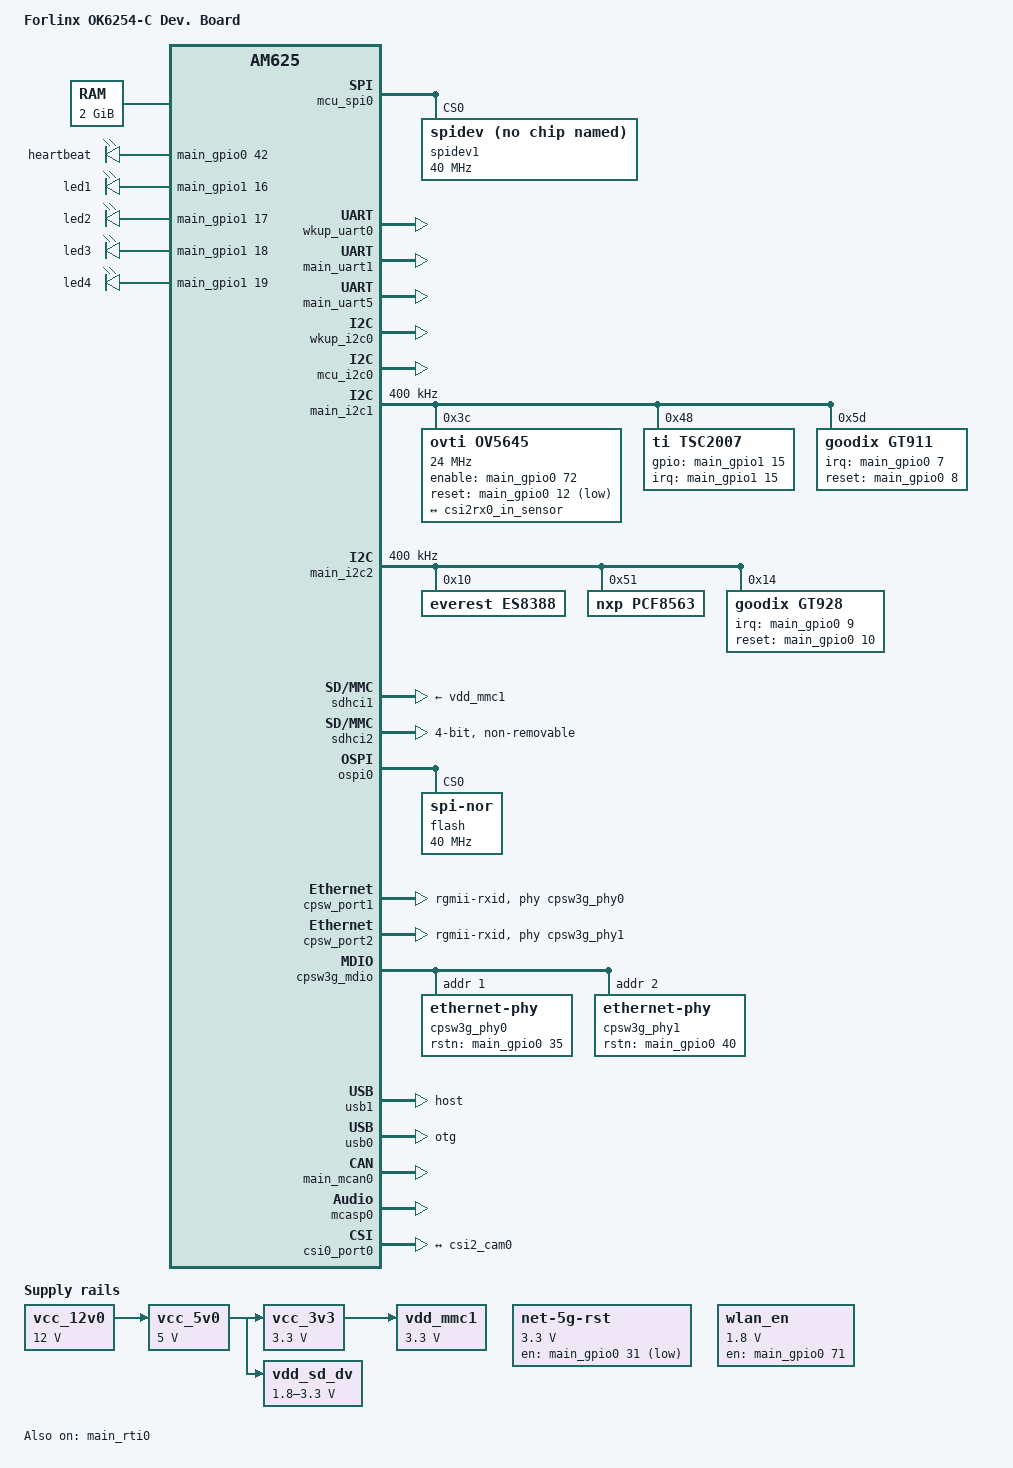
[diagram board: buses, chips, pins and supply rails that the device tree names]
// SPDX-License-Identifier: GPL-2.0
/*
 * Device Tree Source for Forlinx OK6254-C Dev. Board
 *
 * Copyright (C) 2022 UWINGS Technologies
 */

/dts-v1/;

#include <dt-bindings/leds/common.h>
#include <dt-bindings/gpio/gpio.h>
#include "k3-am625.dtsi"

/ {
	compatible =  "forlinx,am625x", "ti,am625-sk", "ti,am625";
	model = "Forlinx OK6254-C Dev. Board";

	aliases {
		serial2 = &main_uart0;
		mmc0 = &sdhci0;
		mmc1 = &sdhci1;
		mmc2 = &sdhci2;
		spi0 = &ospi0;
		usb0 = &usb0;
		usb1 = &usb1;
		ethernet0 = &cpsw_port1;
		ethernet1 = &cpsw_port2;
	};

	chosen {
		stdout-path = "serial2:115200n8";
		bootargs = "console=ttyS2,115200n8 earlycon=ns16550a,mmio32,0x02800000";
	};

	opp-table {
		/* Add 1.4GHz OPP for am625-sk board. Requires VDD_CORE to be at 0.85V */
		opp-1400000000 {
			opp-hz = /bits/ 64 <1400000000>;
			opp-supported-hw = <0x01 0x0004>;
			clock-latency-ns = <6000000>;
		};
	};

	memory@80000000 {
		device_type = "memory";
		/* 2G RAM */
		reg = <0x00000000 0x80000000 0x00000000 0x80000000>;

	};

	forlinx_control {
		//"lvds" : duplicate mode, two lvds interfaces output the same image
		//"lvds-dual" : lvds dual-channel, two lvds interfaces make one image
		//"lvds" "lvds-dual" only available on video-vp0

		//"rgb" : rgb interface output 1024x600 image
		//"rgb800x480" : rgb interface output 800x480 image
		//"rgb" "rgb800x480" only available on video-vp1

		//"disabled" :  lvds or rgb interface disable
		//others keys are considered as interface disabled

		//other resolutions modifiy  OK6254-C-lvds.dts or OK6254-C-rgb.dts panel timmings, and use "lvds" or "rgb" keys.

		status = "disabled";
		video-vp0 = "lvds";   //lvds lvds-dual  disabled
		video-vp1 = "rgb";    //rgb  rgb800x480 disabled

	};

	reserved-memory {
		#address-cells = <2>;
		#size-cells = <2>;
		ranges;

		rtos_ipc_memory_region: ipc-memories@9c800000 {
			compatible = "shared-dma-pool";
			reg = <0x00 0x9c800000 0x00 0x00300000>;
			no-map;
		};

		mcu_m4fss_dma_memory_region: m4f-dma-memory@9cb00000 {
			compatible = "shared-dma-pool";
			reg = <0x00 0x9cb00000 0x00 0x100000>;
			no-map;
		};

		mcu_m4fss_memory_region: m4f-memory@9cc00000 {
			compatible = "shared-dma-pool";
			reg = <0x00 0x9cc00000 0x00 0xd00000>;
			no-map;
		};

		wkup_r5fss0_core0_dma_memory_region: r5f-dma-memory@9d900000 {
			compatible = "shared-dma-pool";
			reg = <0x00 0x9d900000 0x00 0x00100000>;
			no-map;
		};

		wkup_r5fss0_core0_memory_region: r5f-memory@9da00000 {
			compatible = "shared-dma-pool";
			reg = <0x00 0x9da00000 0x00 0x00d00000>;
			no-map;
		};

		lpm_ctx_ddr: lpm-memory@9e700000 {
			reg = <0x00 0x9e700000 0x00 0x80000>;
			alignment = <0x1000>;
		};

		secure_tfa_ddr: tfa@9e780000 {
			reg = <0x00 0x9e780000 0x00 0x80000>;
			alignment = <0x1000>;
			no-map;
		};

		secure_ddr: optee@9e800000 {
			reg = <0x00 0x9e800000 0x00 0x01800000>; /* for OP-TEE */
			alignment = <0x1000>;
			no-map;
		};
	};

	vcc_12v0: fixed-regulator-vcc12v0 {
		compatible = "regulator-fixed";
		regulator-name = "vcc_12v0";
		regulator-min-microvolt = <12000000>;
		regulator-max-microvolt = <12000000>;
		regulator-always-on;
		regulator-boot-on;
	};

	vcc_5v0: fixed-regulator-vcc5v0 {
		compatible = "regulator-fixed";
		regulator-name = "vcc_5v0";
		regulator-min-microvolt = <5000000>;
		regulator-max-microvolt = <5000000>;
		vin-supply = <&vcc_12v0>;
		regulator-always-on;
		regulator-boot-on;
	};


	vcc_3v3: fixed-regulator-vcc3v3 {
		compatible = "regulator-fixed";
		regulator-name = "vcc_3v3";
		regulator-min-microvolt = <3300000>;
		regulator-max-microvolt = <3300000>;
		vin-supply = <&vcc_5v0>;
		regulator-always-on;
		regulator-boot-on;
	};

	vdd_mmc1: fixed-regulator-sd {
		compatible = "regulator-fixed";
		regulator-name = "vdd_mmc1";
		regulator-min-microvolt = <3300000>;
		regulator-max-microvolt = <3300000>;
		regulator-boot-on;
		enable-active-high;
		vin-supply = <&vcc_3v3>;
	};

	net-5g-rst {
		compatible = "regulator-fixed";
		regulator-name = "net-5g-rst";
		regulator-min-microvolt = <3300000>;
		regulator-max-microvolt = <3300000>;
		gpio = <&main_gpio0 31 GPIO_ACTIVE_LOW>;
		enable-active-low;
		regulator-boot-on;
		regulator-always-on;
		pinctrl-names = "default";
		pinctrl-0 = <&net_5g_rst_gpio_default>;
		status = "okay";
	};

	wlan_en: regulator-6 {
		compatible = "regulator-fixed";
		regulator-name = "wlan_en";
		regulator-min-microvolt = <1800000>;
		regulator-max-microvolt = <1800000>;
		enable-active-high;
		regulator-always-on;
		gpios = <&main_gpio0 71 GPIO_ACTIVE_HIGH>;
		pinctrl-names = "default";
		pinctrl-0 = <&wifi_enable_h>;
	};

	vdd_sd_dv: gpio-regulator-sd-dv {
		compatible = "regulator-gpio";
		regulator-name = "RT9186";
		pinctrl-names = "default";
		pinctrl-0 = <&vdd_sd_dv_pins_default>;
		regulator-min-microvolt = <1800000>;
		regulator-max-microvolt = <3300000>;
		regulator-boot-on;
		vin-supply = <&vcc_5v0>;
		gpios = <&main_gpio0 38 GPIO_ACTIVE_HIGH>;
		states = <1800000 0x1>,
			 <3300000 0x0>;
	};

	leds {
		compatible = "gpio-leds";
		pinctrl-names = "default";
		pinctrl-0 = <&usr_led_pins_default>;

		led-0 {
			label = "heartbeat";
			gpios = <&main_gpio0 42 GPIO_ACTIVE_HIGH>;
			linux,default-trigger = "heartbeat";
			function = LED_FUNCTION_HEARTBEAT;
			default-state = "off";
		};

		led-1 {
			label = "led1";
			gpios = <&main_gpio1 16 GPIO_ACTIVE_HIGH>;
			linux,default-trigger = "timer";
			led-pattern = <200 800>;
			default-state = "on";
		};

		led-2 {
			label = "led2";
			gpios = <&main_gpio1 17 GPIO_ACTIVE_HIGH>;
			linux,default-trigger = "timer";
			led-pattern = <300 700>;
			default-state = "on";
		};

		led-3 {
			label = "led3";
			gpios = <&main_gpio1 18 GPIO_ACTIVE_HIGH>;
			linux,default-trigger = "timer";
			led-pattern = <400 600>;
			default-state = "on";
		};

		led-4 {
			label = "led4";
			gpios = <&main_gpio1 19 GPIO_ACTIVE_HIGH>;
			linux,default-trigger = "timer";
			led-pattern = <500 500>;
			default-state = "on";
		};

	};

	keys {
	};

	sound {
		status = "okay";
		compatible = "simple-audio-card";
		simple-audio-card,name = "OK6254";
		simple-audio-card,widgets =
			"Headphone", "Headphone Jack";
		simple-audio-card,routing =
			"Headphone Jack",	"LOUT1",
			"Headphone Jack",	"ROUT1";
		simple-audio-card,format = "i2s";

		simple-audio-card,cpu {
			system-clock-frequency = <11289600>;
			sound-dai = <&mcasp0>;
		};

		sound_master:simple-audio-card,codec {
			sound-dai = <&es8388>;
		};
	};

	clk_ov5645_fixed: clk_ov5645_fixed {
		compatible = "fixed-clock";
		#clock-cells = <0>;
		clock-frequency = <24000000>;
	};

	clk_es8388_fixed: clk_es8388_fixed {
		compatible = "fixed-clock";
		#clock-cells = <0>;
		clock-frequency = <11289600>;
	};

};

&main_pmx0 {
	gt911_pins_default:gt911-pins-default {
		pinctrl-single,pins = <
			AM62X_IOPAD(0x01c, PIN_INPUT, 7) /* J23 OSPI0_D4.GPIO0_7*/
			AM62X_IOPAD(0x020, PIN_OUTPUT, 7) /* J25 OSPI0_D5.GPIO0_8*/
		>;

	};

	gt928_pins_default:gt928-pins-default {
		pinctrl-single,pins = <
			AM62X_IOPAD(0x024, PIN_INPUT, 7) /* H25 OSPI0_D6.GPIO0_9*/
			AM62X_IOPAD(0x028, PIN_OUTPUT, 7) /* J22 OSPI0_D7.GPIO0_10*/
		>;
	};

	tsc_2007_pins_default:tsc2007-pins-default {
		pinctrl-single,pins = <
			AM62X_IOPAD(0x1b4, PIN_INPUT, 7) /* A13 SPI0_CS0.GPIO1_15*/
		>;
	};
	main_uart0_pins_default: main-uart0-pins-default {
		pinctrl-single,pins = <
			AM62X_IOPAD(0x1c8, PIN_INPUT, 0) /* (D14) UART0_RXD */
			AM62X_IOPAD(0x1cc, PIN_OUTPUT, 0) /* (E14) UART0_TXD */
		>;
	};

	main_uart1_pins_default: main-uart1-pins-default {
		pinctrl-single,pins = <
			AM62X_IOPAD(0x1ac, PIN_INPUT, 2) /* (E19) MCASP0_AFSR.UART1_RXD */
			AM62X_IOPAD(0x1b0, PIN_OUTPUT, 2) /* (A20) MCASP0_ACLKR.UART1_TXD */
		>;
	};

	main_uart5_pins_default: main-uart5-pins-default {
		pinctrl-single,pins = <
			AM62X_IOPAD(0x08, PIN_INPUT, 5) /* (J24) OSPI0_DQS.UART5_CTSn */
			AM62X_IOPAD(0x04, PIN_OUTPUT, 5) /* (G25) OSPI0_LBCLKO.UART5_RTSn */
			AM62X_IOPAD(0x34, PIN_INPUT, 5) /* (H21) OSPI0_CSn2.UART5_RXD */
			AM62X_IOPAD(0x38, PIN_OUTPUT, 5) /* (E24) OSPI0_CSn3.UART5_TXD */
		>;
	};

	main_i2c0_pins_default: main-i2c0-pins-default {
		pinctrl-single,pins = <
			AM62X_IOPAD(0x1e0, PIN_INPUT_PULLUP, 0) /* (B16) I2C0_SCL */
			AM62X_IOPAD(0x1e4, PIN_INPUT_PULLUP, 0) /* (A16) I2C0_SDA */
		>;
	};

	main_i2c1_pins_default: main-i2c1-pins-default {
		pinctrl-single,pins = <
			AM62X_IOPAD(0x1e8, PIN_INPUT_PULLUP, 0) /* (B17) I2C1_SCL */
			AM62X_IOPAD(0x1ec, PIN_INPUT_PULLUP, 0) /* (A17) I2C1_SDA */
		>;
	};

	main_i2c2_pins_default: main-i2c2-pins-default {
		pinctrl-single,pins = <
			AM62X_IOPAD(0x0b0, PIN_INPUT_PULLUP, 1) /* (K22) GPMC0_CSn2.I2C2_SCL */
			AM62X_IOPAD(0x0b4, PIN_INPUT_PULLUP, 1) /* (K24) GPMC0_CSn3.I2C2_SDA */
		>;
	};

	main_mmc0_pins_default: main-mmc0-pins-default {
		pinctrl-single,pins = <
			AM62X_IOPAD(0x220, PIN_INPUT_PULLUP, 0) /* (Y3) MMC0_CMD */
			AM62X_IOPAD(0x218, PIN_INPUT_PULLDOWN, 0) /* (AB1) MMC0_CLK */
			AM62X_IOPAD(0x214, PIN_INPUT_PULLUP, 0) /* (AA2) MMC0_DAT0 */
			AM62X_IOPAD(0x210, PIN_INPUT_PULLUP, 0) /* (AA1) MMC0_DAT1 */
			AM62X_IOPAD(0x20c, PIN_INPUT_PULLUP, 0) /* (AA3) MMC0_DAT2 */
			AM62X_IOPAD(0x208, PIN_INPUT_PULLUP, 0) /* (Y4) MMC0_DAT3 */
			AM62X_IOPAD(0x204, PIN_INPUT_PULLUP, 0) /* (AB2) MMC0_DAT4 */
			AM62X_IOPAD(0x200, PIN_INPUT_PULLUP, 0) /* (AC1) MMC0_DAT5 */
			AM62X_IOPAD(0x1fc, PIN_INPUT_PULLUP, 0) /* (AD2) MMC0_DAT6 */
			AM62X_IOPAD(0x1f8, PIN_INPUT_PULLUP, 0) /* (AC2) MMC0_DAT7 */
		>;
	};

	main_mmc1_pins_default: main-mmc1-pins-default {
		pinctrl-single,pins = <
			AM62X_IOPAD(0x23c, PIN_INPUT_PULLUP, 0) /* (A21) MMC1_CMD */
			AM62X_IOPAD(0x234, PIN_INPUT_PULLDOWN, 0) /* (B22) MMC1_CLK */
			AM62X_IOPAD(0x230, PIN_INPUT_PULLUP, 0) /* (A22) MMC1_DAT0 */
			AM62X_IOPAD(0x22c, PIN_INPUT_PULLUP, 0) /* (B21) MMC1_DAT1 */
			AM62X_IOPAD(0x228, PIN_INPUT_PULLUP, 0) /* (C21) MMC1_DAT2 */
			AM62X_IOPAD(0x224, PIN_INPUT_PULLUP, 0) /* (D22) MMC1_DAT3 */
			AM62X_IOPAD(0x240, PIN_INPUT_PULLUP, 0) /* (D17) MMC1_SDCD */
		>;
	};

	main_mmc2_pins_default: main-mmc2-pins-default {
		pinctrl-single,pins = <
			AM62X_IOPAD(0x120, PIN_INPUT_PULLUP, 0) /* (C24) MMC2_CMD */
			AM62X_IOPAD(0x118, PIN_INPUT_PULLDOWN, 0) /* (D25) MMC2_CLK */
			AM62X_IOPAD(0x114, PIN_INPUT_PULLUP, 0) /* (B24) MMC2_DAT0 */
			AM62X_IOPAD(0x110, PIN_INPUT_PULLUP, 0) /* (C25) MMC2_DAT1 */
			AM62X_IOPAD(0x10c, PIN_INPUT_PULLUP, 0) /* (E23) MMC2_DAT2 */
			AM62X_IOPAD(0x108, PIN_INPUT_PULLUP, 0) /* (D24) MMC2_DAT3 */
			AM62X_IOPAD(0x11c, PIN_INPUT, 0) /* (#N/A) MMC2_CLKB */
		>;
	};


	usr_led_pins_default: usr-led-pins-default {
		pinctrl-single,pins = <
			AM62X_IOPAD(0x0ac, PIN_OUTPUT, 7) /* (L21) GPMC0_CSn1.GPIO0_42 */
			AM62X_IOPAD(0x1b8, PIN_OUTPUT, 7) /* (C13) SPI0_CS1.GPIO1_16 */
			AM62X_IOPAD(0x1bc, PIN_OUTPUT, 7) /* (A14) SPI0_CLK.GPIO1_17*/
			AM62X_IOPAD(0x1c0, PIN_OUTPUT, 7) /* (B13) SPI0_D0.GPIO1_18 */
			AM62X_IOPAD(0x1c4, PIN_OUTPUT, 7) /* (B14) SPI0_D1.GPIO1_19 */
		>;
	};

	main_usb1_pins_default: main-usb1-pins-default {
		pinctrl-single,pins = <
			AM62X_IOPAD(0x258, PIN_OUTPUT, 0) /* (F18) USB1_DRVVBUS */
		>;
	};

	main_usb0_gpio_pins_default: main-usb0-gpio-pins-default {
		pinctrl-single,pins = <
			AM62X_IOPAD(0x094, PIN_INPUT, 7) /* (N20) GPMC0_BE1n.GPIO0_36 */
			AM62X_IOPAD(0x254, PIN_OUTPUT, 0) /* (C20) USB0_DRVVBUS */
		>;
	};

	main_mdio1_pins_default: main_mdio1-pins-default {
		pinctrl-single,pins = <
			AM62X_IOPAD(0x160, PIN_OUTPUT, 0) /* (AD24) MDIO0_MDC */
			AM62X_IOPAD(0x15c, PIN_INPUT, 0) /* (AB22) MDIO0_MDIO */
		>;
	};

	main_rgmii1_pins_default: main-rgmii1-pins-default {
		pinctrl-single,pins = <
			AM62X_IOPAD(0x14c, PIN_INPUT, 0) /* (AB17) RGMII1_RD0 */
			AM62X_IOPAD(0x150, PIN_INPUT, 0) /* (AC17) RGMII1_RD1 */
			AM62X_IOPAD(0x154, PIN_INPUT, 0) /* (AB16) RGMII1_RD2 */
			AM62X_IOPAD(0x158, PIN_INPUT, 0) /* (AA15) RGMII1_RD3 */
			AM62X_IOPAD(0x148, PIN_INPUT, 0) /* (AD17) RGMII1_RXC */
			AM62X_IOPAD(0x144, PIN_INPUT, 0) /* (AE17) RGMII1_RX_CTL */
			AM62X_IOPAD(0x134, PIN_OUTPUT, 0) /* (AE20) RGMII1_TD0 */
			AM62X_IOPAD(0x138, PIN_OUTPUT, 0) /* (AD20) RGMII1_TD1 */
			AM62X_IOPAD(0x13c, PIN_OUTPUT, 0) /* (AE18) RGMII1_TD2 */
			AM62X_IOPAD(0x140, PIN_OUTPUT, 0) /* (AD18) RGMII1_TD3 */
			AM62X_IOPAD(0x130, PIN_OUTPUT, 0) /* (AE19) RGMII1_TXC */
			AM62X_IOPAD(0x12c, PIN_OUTPUT, 0) /* (AD19) RGMII1_TX_CTL */
		>;
	};

	main_rgmii2_pins_default: main-rgmii2-pins-default {
		pinctrl-single,pins = <
			AM62X_IOPAD(0x184, PIN_INPUT, 0) /* (AE23) RGMII2_RD0 */
			AM62X_IOPAD(0x188, PIN_INPUT, 0) /* (AB20) RGMII2_RD1 */
			AM62X_IOPAD(0x18c, PIN_INPUT, 0) /* (AC21) RGMII2_RD2 */
			AM62X_IOPAD(0x190, PIN_INPUT, 0) /* (AE22) RGMII2_RD3 */
			AM62X_IOPAD(0x180, PIN_INPUT, 0) /* (AD23) RGMII2_RXC */
			AM62X_IOPAD(0x17c, PIN_INPUT, 0) /* (AD22) RGMII2_RX_CTL */
			AM62X_IOPAD(0x16c, PIN_OUTPUT, 0) /* (Y18) RGMII2_TD0 */
			AM62X_IOPAD(0x170, PIN_OUTPUT, 0) /* (AA18) RGMII2_TD1 */
			AM62X_IOPAD(0x174, PIN_OUTPUT, 0) /* (AD21) RGMII2_TD2 */
			AM62X_IOPAD(0x178, PIN_OUTPUT, 0) /* (AC20) RGMII2_TD3 */
			AM62X_IOPAD(0x168, PIN_OUTPUT, 0) /* (AE21) RGMII2_TXC */
			AM62X_IOPAD(0x164, PIN_OUTPUT, 0) /* (AA19) RGMII2_TX_CTL */
		>;
	};

	phy_reset_pins_default: phy-reset-pins-default {
		pinctrl-single,pins = <
			AM62X_IOPAD(0x090, PIN_OUTPUT, 7) /* (M24) GPMC0_BE0n_CLE.GPIO0_35 */
			AM62X_IOPAD(0x0a4, PIN_OUTPUT, 7) /* (M22) GPMC0_DIR.GPIO0_40 */
		>;
	};


	main_mcasp0_pins_default: main-mcasp0-pins-default {
		pinctrl-single,pins = <
			AM62X_IOPAD(0x1d4, PIN_INPUT, 5) /* (B15) UART0_RTSn.AUDIO_EXT_REFCLK1 */

			AM62X_IOPAD(0x1a4, PIN_OUTPUT, 0) /* (B20) MCASP0_ACLKX */
			AM62X_IOPAD(0x1a8, PIN_OUTPUT, 0) /* (D20) MCASP0_AFSX */
			AM62X_IOPAD(0x198, PIN_OUTPUT, 0) /* (A19) MCASP0_AXR2 */
			AM62X_IOPAD(0x194, PIN_INPUT, 0) /* (B19) MCASP0_AXR3 */
		>;
	};

	main_dss0_pins_default: main-dss0-pins-default {
		pinctrl-single,pins = <
			AM62X_IOPAD(0x0b8, PIN_OUTPUT, 0) /* (U22) VOUT0_DATA0 */
			AM62X_IOPAD(0x0bc, PIN_OUTPUT, 0) /* (V24) VOUT0_DATA1 */
			AM62X_IOPAD(0x0e0, PIN_OUTPUT, 0) /* (V20) VOUT0_DATA10 */
			AM62X_IOPAD(0x0e4, PIN_OUTPUT, 0) /* (AA23) VOUT0_DATA11 */
			AM62X_IOPAD(0x0e8, PIN_OUTPUT, 0) /* (AB25) VOUT0_DATA12 */
			AM62X_IOPAD(0x0ec, PIN_OUTPUT, 0) /* (AA24) VOUT0_DATA13 */
			AM62X_IOPAD(0x0f0, PIN_OUTPUT, 0) /* (Y22) VOUT0_DATA14 */
			AM62X_IOPAD(0x0f4, PIN_OUTPUT, 0) /* (AA21) VOUT0_DATA15 */
			AM62X_IOPAD(0x0c0, PIN_OUTPUT, 0) /* (W25) VOUT0_DATA2 */
			AM62X_IOPAD(0x0c4, PIN_OUTPUT, 0) /* (W24) VOUT0_DATA3 */
			AM62X_IOPAD(0x0c8, PIN_OUTPUT, 0) /* (Y25) VOUT0_DATA4 */
			AM62X_IOPAD(0x0cc, PIN_OUTPUT, 0) /* (Y24) VOUT0_DATA5 */
			AM62X_IOPAD(0x0d0, PIN_OUTPUT, 0) /* (Y23) VOUT0_DATA6 */
			AM62X_IOPAD(0x0d4, PIN_OUTPUT, 0) /* (AA25) VOUT0_DATA7 */
			AM62X_IOPAD(0x0d8, PIN_OUTPUT, 0) /* (V21) VOUT0_DATA8 */
			AM62X_IOPAD(0x0dc, PIN_OUTPUT, 0) /* (W21) VOUT0_DATA9 */
			AM62X_IOPAD(0x0fc, PIN_OUTPUT, 0) /* (Y20) VOUT0_DE */
			AM62X_IOPAD(0x0f8, PIN_OUTPUT, 0) /* (AB24) VOUT0_HSYNC */
			AM62X_IOPAD(0x104, PIN_OUTPUT, 0) /* (AC24) VOUT0_PCLK */
			AM62X_IOPAD(0x100, PIN_OUTPUT, 0) /* (AC25) VOUT0_VSYNC */
		>;
	};
	oldi0_pins_default: oldi0-pins-default {
		pinctrl-single,pins = <
			AM62X_IOPAD(0x260, PIN_OUTPUT, 0) /* (AA5) OLDI0_A0N */
			AM62X_IOPAD(0x25c, PIN_OUTPUT, 0) /* (Y6) OLDI0_A0P */
			AM62X_IOPAD(0x268, PIN_OUTPUT, 0) /* (AD3) OLDI0_A1N */
			AM62X_IOPAD(0x264, PIN_OUTPUT, 0) /* (AB4) OLDI0_A1P */
			AM62X_IOPAD(0x270, PIN_OUTPUT, 0) /* (Y8) OLDI0_A2N */
			AM62X_IOPAD(0x26c, PIN_OUTPUT, 0) /* (AA8) OLDI0_A2P */
			AM62X_IOPAD(0x278, PIN_OUTPUT, 0) /* (AB6) OLDI0_A3N */
			AM62X_IOPAD(0x274, PIN_OUTPUT, 0) /* (AA7) OLDI0_A3P */
			AM62X_IOPAD(0x280, PIN_OUTPUT, 0) /* (AC6) OLDI0_A4N */
			AM62X_IOPAD(0x27c, PIN_OUTPUT, 0) /* (AC5) OLDI0_A4P */
			AM62X_IOPAD(0x288, PIN_OUTPUT, 0) /* (AE5) OLDI0_A5N */
			AM62X_IOPAD(0x284, PIN_OUTPUT, 0) /* (AD6) OLDI0_A5P */
			AM62X_IOPAD(0x290, PIN_OUTPUT, 0) /* (AE6) OLDI0_A6N */
			AM62X_IOPAD(0x28c, PIN_OUTPUT, 0) /* (AD7) OLDI0_A6P */
			AM62X_IOPAD(0x298, PIN_OUTPUT, 0) /* (AD8) OLDI0_A7N */
			AM62X_IOPAD(0x294, PIN_OUTPUT, 0) /* (AE7) OLDI0_A7P */
			AM62X_IOPAD(0x2a0, PIN_OUTPUT, 0) /* (AD4) OLDI0_CLK0N */
			AM62X_IOPAD(0x29c, PIN_OUTPUT, 0) /* (AE3) OLDI0_CLK0P */
			AM62X_IOPAD(0x2a8, PIN_OUTPUT, 0) /* (AE4) OLDI0_CLK1N */
			AM62X_IOPAD(0x2a4, PIN_OUTPUT, 0) /* (AD5) OLDI0_CLK1P */
		>;
	};

	ospi0_pins_default: ospi0-pins-default {
		pinctrl-single,pins = <
			AM62X_IOPAD(0x000, PIN_OUTPUT, 0) /* (H24) OSPI0_CLK */
			AM62X_IOPAD(0x02c, PIN_OUTPUT, 0) /* (F23) OSPI0_CSn0 */
			AM62X_IOPAD(0x00c, PIN_INPUT, 0) /* (E25) OSPI0_D0 */
			AM62X_IOPAD(0x010, PIN_INPUT, 0) /* (G24) OSPI0_D1 */
			AM62X_IOPAD(0x014, PIN_INPUT, 0) /* (F25) OSPI0_D2 */
			AM62X_IOPAD(0x018, PIN_INPUT, 0) /* (F24) OSPI0_D3 */
		>;
	};

	vdd_sd_dv_pins_default: vdd-sd-dv-pins-default {
		pinctrl-single,pins = <
			AM62X_IOPAD(0x09c, PIN_OUTPUT, 7) /* (V25) GPMC0_WAIT0.GPIO0_38 */
		>;
	};

	wifi_enable_h: wifi-enable-h {
		pinctrl-single,pins = <
			AM62X_IOPAD(0x124, PIN_OUTPUT, 7) /* (A23) MMC2_SDCD.GPIO0_71 */
			>;
	};

	net_5g_rst_gpio_default: net-5g-rst-gpio-default {
		pinctrl-single,pins = <
			AM62X_IOPAD(0x07C, PIN_OUTPUT, 7) /* (P25) GPMC0_CLK.GPIO0_31 */
			>;
	};

	main_mcan0_pins_default: main-mcan0-pins-default {
		pinctrl-single,pins = <
			AM62X_IOPAD(0x1dc, PIN_INPUT, 0) /* (E15) MCAN0_RX */
			AM62X_IOPAD(0x1d8, PIN_OUTPUT, 0) /* (C15) MCAN0_TX */
		>;
	};

	ov5640_pins_default: ov5640-pins-default{
		pinctrl-single,pins = <
			AM62X_IOPAD(0x030, PIN_OUTPUT, 7) /* (G21) CSI_RESET.GPIO0_12 */
			AM62X_IOPAD(0x128, PIN_OUTPUT, 7) /* (B23) CSI_PWDN.GPIO0_72 */
		>;
	};
};

&mcu_pmx0 {
	mcu_i2c0_pins_default: mcu-i2c0-pins-default {
		pinctrl-single,pins = <
			AM62X_MCU_IOPAD(0x044, PIN_INPUT_PULLUP, 0) /* (A8) MCU_I2C0_SCL */
			AM62X_MCU_IOPAD(0x048, PIN_INPUT_PULLUP, 0) /* (D10) MCU_I2C0_SDA */
		>;
	};

	mcu_mcan0_pins_default: mcu-mcan0-pins-default {
		pinctrl-single,pins = <
			AM62X_MCU_IOPAD(0x038, PIN_INPUT, 0) /* (B3) MCU_MCAN0_RX */
			AM62X_MCU_IOPAD(0x034, PIN_OUTPUT, 0) /* (D6) MCU_MCAN0_TX */
		>;
	};

	mcu_uart0_pins_default: mcu-uart0-pins-default {
		pinctrl-single,pins = <
			AM62X_MCU_IOPAD(0x014, PIN_INPUT, 0) /* (B5) MCU_UART0_RXD */
			AM62X_MCU_IOPAD(0x018, PIN_OUTPUT, 0) /* (A5) MCU_UART0_TXD */
		>;
	};

	wkup_i2c0_pins_default: wkup-i2c0-pins-default {
		pinctrl-single,pins = <
			AM62X_MCU_IOPAD(0x04c, PIN_INPUT_PULLUP, 0) /* (B9) WKUP_I2C0_SCL */
			AM62X_MCU_IOPAD(0x050, PIN_INPUT_PULLUP, 0) /* (A9) WKUP_I2C0_SDA */
		>;
	};

	wkup_uart0_pins_default: wkup-uart0-pins-default {
		pinctrl-single,pins = <
			AM62X_MCU_IOPAD(0x024, PIN_INPUT, 0) /* (B4) WKUP_UART0_RXD */
			AM62X_MCU_IOPAD(0x028, PIN_OUTPUT, 0) /* (C5) WKUP_UART0_TXD */
		>;
	};

	mcu_gpio_led_pins_default: mcu-gpio-led-pins-default {
		pinctrl-single,pins = <
			AM62X_MCU_IOPAD(0x001c, PIN_OUTPUT, 7) /* (A6) MCU_UART0_CTSn.MCU_GPIO0_7 */
			AM62X_MCU_IOPAD(0x0020, PIN_OUTPUT, 7) /* (B6) MCU_UART0_RTSn.MCU_GPIO0_8 */
			AM62X_MCU_IOPAD(0x002c, PIN_OUTPUT, 7) /* (C6) WKUP_UART0_CTSn.MCU_GPIO0_11 */
			AM62X_MCU_IOPAD(0x0030, PIN_OUTPUT, 7) /* (A4) WKUP_UART0_RTSn.MCU_GPIO0_12 */
		>;
	};

	mcu_gpio_key_pin_default: mcu-gpio-key-pin-default {
		pinctrl-single,pins = <
			AM62X_MCU_IOPAD(0x040, PIN_INPUT, 7) /* (D4) MCU_GPIO0_16 */
			AM62X_MCU_IOPAD(0x03C, PIN_OUTPUT, 7) /* (E5) MCU_GPIO0_15 */
		>;
	};

	mcu_spi0_pins_default: mcu-spi0-pins-default {
		pinctrl-single,pins = <
			AM62X_MCU_IOPAD(0x008, PIN_INPUT, 0) /* (A7) MCU_SPI0_CLK */
			AM62X_MCU_IOPAD(0x000, PIN_OUTPUT, 0) /* (E8) MCU_SPI0_CS0 */
			AM62X_MCU_IOPAD(0x004, PIN_OUTPUT, 0) /* (B8) MCU_SPI0_CS1 */
			AM62X_MCU_IOPAD(0x00c, PIN_INPUT, 0) /* (D9) MCU_SPI0_D0 */
			AM62X_MCU_IOPAD(0x010, PIN_INPUT, 0) /* (C9) MCU_SPI0_D1 */
		>;
	};
};

&mcu_spi0 {
	pinctrl-names = "default";
	pinctrl-0 = <&mcu_spi0_pins_default>;
	status = "okay";

	/* Rohm, BH2228FV SPI DAC, 6ch 8bits */
	spidev1: spi@0 {
		reg = <0>;
		compatible = "rohm,dh2228fv";
		spi-max-frequency = <40000000>;
	};
};

/* wkup_uart0 is reserved for firmware usage */
&wkup_uart0 {
	pinctrl-names = "default";
	pinctrl-0 = <&wkup_uart0_pins_default>;
	/* WKUP UART0 is used by DM firmware */
	status = "okay";
};

&main_uart0 {
	pinctrl-names = "default";
	pinctrl-0 = <&main_uart0_pins_default>;
};

&main_uart1 {
	pinctrl-names = "default";
	pinctrl-0 = <&main_uart1_pins_default>;
	/* Main UART1 is used by TIFS firmware */
	status = "okay";
};

&main_uart2 {
	status = "disabled";
};

&main_uart3 {
	status = "disabled";
};

&main_uart4 {
	status = "disabled";
};

&main_uart5 {
	pinctrl-names = "default";
	pinctrl-0 = <&main_uart5_pins_default>;
	status = "okay";
};

&main_uart6 {
	status = "disabled";
};

&wkup_i2c0 {
	pinctrl-names = "default";
	pinctrl-0 = <&wkup_i2c0_pins_default>;
	status = "okay";
};

&mcu_i2c0 {
	pinctrl-names = "default";
	pinctrl-0 = <&mcu_i2c0_pins_default>;
	status = "okay";
};

&main_i2c0 {
	pinctrl-names = "default";
	pinctrl-0 = <&main_i2c0_pins_default>;
	clock-frequency = <400000>;
	status = "disabled";
};

&main_i2c1 {
	status = "okay";
	pinctrl-names = "default";
	pinctrl-0 = <&main_i2c1_pins_default>;
	clock-frequency = <400000>;

	ov5645: camera@3c {
		compatible = "ovti,ov5645";
		reg = <0x3c>;
		pinctrl-names = "default";
		pinctrl-0 = <&ov5640_pins_default>;
		clocks = <&clk_ov5645_fixed>;
		clock-names = "xclk";
		clock-frequency = <24000000>;
		enable-gpios = <&main_gpio0 72 GPIO_ACTIVE_HIGH>;
		reset-gpios = <&main_gpio0 12 GPIO_ACTIVE_LOW>;
		port {
			csi2_cam0: endpoint {
				remote-endpoint = <&csi2rx0_in_sensor>;
				clock-lanes = <0>;
				data-lanes = <1 2>;
			};
		};
	};


	tsc2007:tsc2007@48 {
		compatible = "ti,tsc2007";
		reg = <0x48>;
		pinctrl-names = "default";
		pinctrl-0 = <&tsc_2007_pins_default>;
		interrupt-parent = <&main_gpio1>;
		interrupts = <15 IRQ_TYPE_EDGE_FALLING>;
		gpios = <&main_gpio1 15 GPIO_ACTIVE_HIGH>;
		touchscreen-size-x = <4000>;
		touchscreen-size-y = <4000>;
		ti,x-plate-ohms = <180>;
	};


	gt911: gt911_ts@5d {
		compatible = "goodix,gt911";
		reg = <0x5d>;
		pinctrl-names = "default";
		pinctrl-0 = <&gt911_pins_default>;
		interrupt-parent = <&main_gpio0>;
		interrupts = <7 IRQ_TYPE_EDGE_FALLING>;
		irq-gpios = <&main_gpio0 7  GPIO_ACTIVE_HIGH>;
		reset-gpios = <&main_gpio0 8 GPIO_ACTIVE_HIGH>;
		touchscreen-size-x = <800>;
		touchscreen-size-y = <480>;
		touchscreen-inverted-x;
		touchscreen-inverted-y;
		status = "okay";
	};

};

&main_i2c2 {
	status = "okay";
	pinctrl-names = "default";
	pinctrl-0 = <&main_i2c2_pins_default>;
	clock-frequency = <400000>;

	es8388: es8388@10 {
		compatible = "everest,es8388";
		reg = <0x10>;
		#sound-dai-cells = <0>;
		clocks = <&clk_es8388_fixed>;
	};

	pcf8563:rtc@51 {
		compatible = "nxp,pcf8563";
		reg = <0x51>;
		status = "okay";
	};

	gt928: gt928_ts@14 {
		compatible = "goodix,gt928";
		reg = <0x14>;
		pinctrl-names = "default";
		pinctrl-0 = <&gt928_pins_default>;
		interrupt-parent = <&main_gpio0>;
		interrupts = <9 IRQ_TYPE_EDGE_FALLING>;
		irq-gpios = <&main_gpio0 9  GPIO_ACTIVE_HIGH>;
		reset-gpios = <&main_gpio0 10 GPIO_ACTIVE_HIGH>;
		touchscreen-size-x = <1280>;
		touchscreen-size-y = <800>;
		touchscreen-swapped-x-y;
		status = "okay";
	};

};

&sdhci0 {
	pinctrl-names = "default";
	pinctrl-0 = <&main_mmc0_pins_default>;
	ti,driver-strength-ohm = <50>;
	disable-wp;
};

&sdhci1 {
	/* SD/MMC */
	vmmc-supply = <&vdd_mmc1>;
	vqmmc-supply = <&vdd_sd_dv>;
	pinctrl-names = "default";
	pinctrl-0 = <&main_mmc1_pins_default>;
	ti,driver-strength-ohm = <50>;
	disable-wp;
};

&sdhci2 {
	pinctrl-names = "default";
	pinctrl-0 = <&main_mmc2_pins_default>;
	vqmmc-supply = <&wlan_en>;
	bus-width = <4>;
	non-removable;
	ti,fails-without-test-cd;
	cap-power-off-card;
	keep-power-in-suspend;
	ti,driver-strength-ohm = <50>;
	assigned-clocks = <&k3_clks 157 158>;
	assigned-clock-parents = <&k3_clks 157 160>;
	status = "okay";
};

&ospi0 {
	pinctrl-names = "default";
	pinctrl-0 = <&ospi0_pins_default>;

	flash@0{
		compatible = "jedec,spi-nor";
		reg = <0x0>;
		spi-tx-bus-width = <4>;
		spi-rx-bus-width = <4>;
		spi-max-frequency = <40000000>;
		cdns,tshsl-ns = <60>;
		cdns,tsd2d-ns = <60>;
		cdns,tchsh-ns = <60>;
		cdns,tslch-ns = <60>;
		cdns,read-delay = <4>;
		cdns,read-delay-dtr = <10>;
		#address-cells = <1>;
		#size-cells = <1>;
		cdns,phy-mode;
	};
};

&cpsw3g {
	pinctrl-names = "default";
	pinctrl-0 = <&main_mdio1_pins_default
		     &main_rgmii1_pins_default
		     &main_rgmii2_pins_default
			 &phy_reset_pins_default
			 >;
};

&cpsw_port1 {
	phy-mode = "rgmii-rxid";
	phy-handle = <&cpsw3g_phy0>;
};

&cpsw_port2 {
	phy-mode = "rgmii-rxid";
	phy-handle = <&cpsw3g_phy1>;
};

&cpsw3g_mdio {
	cpsw3g_phy0: ethernet-phy@1 {
		reg = <1>;
		ti,min-output-impedance; //check
		rstn-gpios = <&main_gpio0 35 GPIO_ACTIVE_HIGH>;
	};

	cpsw3g_phy1: ethernet-phy@2 {
		reg = <2>;
		ti,min-output-impedance; //check
		rstn-gpios = <&main_gpio0 40 GPIO_ACTIVE_HIGH>;
	};
};

&usb1 {
	dr_mode = "host";
	pinctrl-names = "default";
	pinctrl-0 = <&main_usb1_pins_default>;
	/delete-property/ extcon;
};

&usbss0 {
	id-gpios = <&main_gpio0 36 GPIO_ACTIVE_HIGH>;
	pinctrl-names = "default";
	pinctrl-0 = <&main_usb0_gpio_pins_default>;
	ti,vbus-divider;
};

&usb0 {
	dr_mode = "otg";
	/* To indicate the connector can be used
	 * for both host as well as gadget mode
	 */
	usb-role-switch;
	extcon = <&usbss0>;
};

&mailbox0_cluster0 {
	mbox_m4_0: mbox-m4-0 {
		ti,mbox-rx = <0 0 0>;
		ti,mbox-tx = <1 0 0>;
	};
};

&mcu_m4fss {
	mboxes = <&mailbox0_cluster0 &mbox_m4_0>;
	memory-region = <&mcu_m4fss_dma_memory_region>,
			<&mcu_m4fss_memory_region>;
};


&wkup_rtc0 {
	assigned-clocks = <&k3_clks 117 0>;
	assigned-clock-parents = <&k3_clks 117 1>;
	status = "disabled";
};


&main_mcan0 {
	pinctrl-names = "default";
	pinctrl-0 = <&main_mcan0_pins_default>;
	status = "okay";
};


&mcasp0 {
	pinctrl-names = "default";
	pinctrl-0 = <&main_mcasp0_pins_default>;
    status = "okay";
	#sound-dai-cells = <0>;
	op-mode = <0>;          /* MCASP_IIS_MODE */
	tdm-slots = <2>;
	/* 16 serializers */
	serial-dir = <  /* 0: INACTIVE, 1: TX, 2: RX */
		0 0 1 2
		0 0 0 0
		0 0 0 0
		0 0 0 0
	>;
	tx-num-evt = <32>;
	rx-num-evt = <32>;
};

&main_rti0 {
	status = "okay";
	timeout-sec = <10>;
};

&csi0_port0 {
	status = "okay";

	csi2rx0_in_sensor: endpoint {
		remote-endpoint = <&csi2_cam0>;
		bus-type = <4>; /* CSI2 DPHY. */
		clock-lanes = <0>;
		data-lanes = <1 2>;
	};
};

&dss {
	status = "disabled";
};

&epwm1 {
	status = "disabled";
};

&dmsc {
	ti,system-suspend-controller;
	ti,ctx-memory-region = <&lpm_ctx_ddr>;
};

&mcasp1 {
	status = "disabled";
};

&mcasp2 {
	status = "disabled";
};
